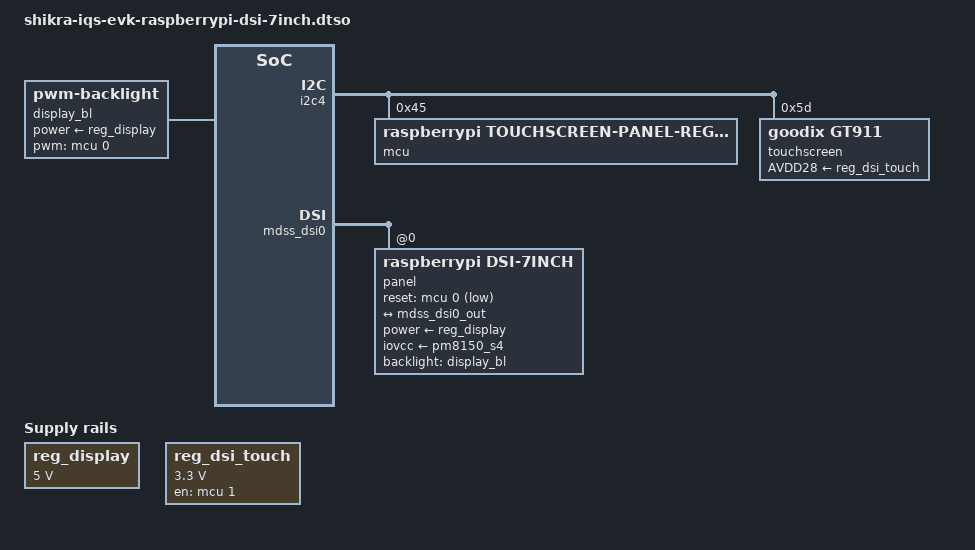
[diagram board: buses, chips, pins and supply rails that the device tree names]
// SPDX-License-Identifier: BSD-3-Clause
/*
 * Copyright (c) Qualcomm Technologies, Inc. and/or its subsidiaries.
 */

/dts-v1/;
/plugin/;

#include <dt-bindings/gpio/gpio.h>

&{/} {
	model = "Qualcomm Technologies, Inc. Shikra IQS EVK Raspberry Pi 7inch DSI Panel";

	display_bl: backlight {
		compatible = "pwm-backlight";
		power-supply = <&reg_display>;
		pwms = <&mcu 0 255 0>;
	};

	reg_display: regulator-display {
		compatible = "regulator-fixed";
		regulator-name = "rpi-display";
		regulator-min-microvolt = <5000000>;
		regulator-max-microvolt = <5000000>;
	};

	reg_dsi_touch: regulator-dsi-touch {
		compatible = "regulator-fixed";
		gpio = <&mcu 1 GPIO_ACTIVE_HIGH>;
		regulator-name = "rpi-touch";
		regulator-min-microvolt = <3300000>;
		regulator-max-microvolt = <3300000>;
		startup-delay-us = <50000>;
		enable-active-high;
	};
};

&hdmi_bridge {
	status = "disabled";
};

&hdmi_connector {
	status = "disabled";
};

&i2c4 {
	#address-cells = <1>;
	#size-cells = <0>;
	status = "okay";

	mcu: gpio@45 {
		compatible = "raspberrypi,touchscreen-panel-regulator-v2";
		reg = <0x45>;
		gpio-controller;
		#gpio-cells = <2>;
		#pwm-cells = <3>;
	};

	touchscreen@5d {
		compatible = "goodix,gt911";
		reg = <0x5d>;
		AVDD28-supply = <&reg_dsi_touch>;
		touchscreen-size-x = <720>;
		touchscreen-size-y = <1280>;
	};
};

&mdss_dsi0 {
	#address-cells = <1>;
	#size-cells = <0>;

	panel@0 {
		compatible = "raspberrypi,dsi-7inch", "ilitek,ili9881c";
		reg = <0>;
		reset-gpios = <&mcu 0 GPIO_ACTIVE_LOW>;
		power-supply = <&reg_display>;
		iovcc-supply = <&pm8150_s4>;
		backlight = <&display_bl>;

		port {
			panel_in: endpoint {
				remote-endpoint = <&mdss_dsi0_out>;
			};
		};
	};
};

&mdss_dsi0_out {
	data-lanes = <0 1>;
	remote-endpoint = <&panel_in>;
};
